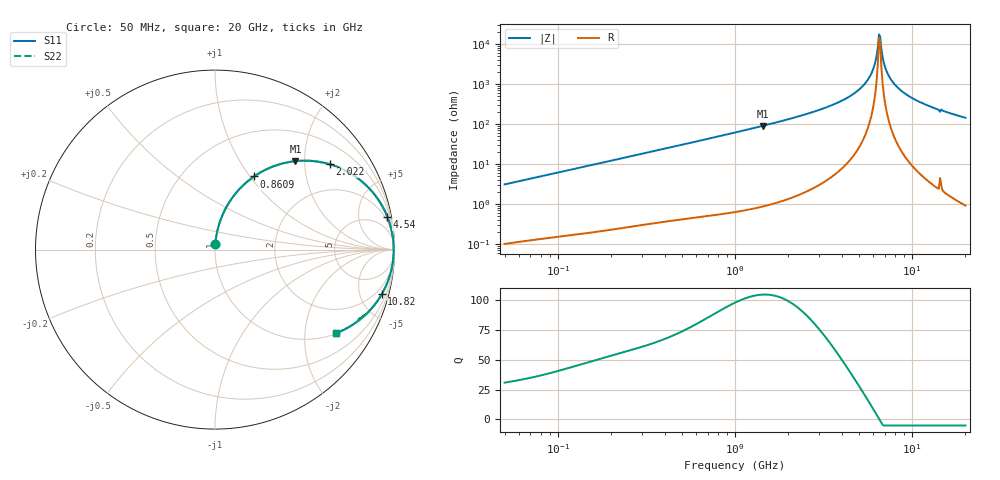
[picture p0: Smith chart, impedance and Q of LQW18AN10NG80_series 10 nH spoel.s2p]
!Murata Part Number: LQW18AN10NG80
!These Parameters are Measured in Series Mode Connection
!  o--[Z]--o
!Port1  Port2
!  o-------o
!Freq. Start=50[MHz] Stop=20[GHz], 401[Steps]
# Hz S RI R 50
!Freq.(Hz) S11(Real) S11(Imag) S21(Real) S21(Imag) S12(Real) S12(Imag) S22(Real) S22(Imag)
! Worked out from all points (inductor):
!   401 points, 50 MHz to 20 GHz, reference 50 ohm
!   read as one part in series: L = 9.78 nH near 51.52 MHz
!   highest Q = 104 at 1.433 GHz (marker M1), where L = 10 nH
!   self-resonance near 6.503 GHz
!   S11 on the Smith chart (normalised r, x): 50 MHz: 1.00, +0.06; 860.9 MHz: 1.01, +1.05; 2.022 GHz: 1.03, +2.67; 4.54 GHz: 1, +10; 10.82 GHz: 1.12, -7.45; 20 GHz: 1.02, -2.87
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5e7  0.00195 0.0308  0.9981 -0.0308  0.9981 -0.0308  0.00195 0.0308
1.364002e8  0.00859 0.0821  0.9914 -0.0821  0.9914 -0.0821  0.00859 0.0821
3.721004e8  0.0511 0.2127  0.9489 -0.2127  0.9489 -0.2127  0.0511 0.2127
8.608917e8  0.2184 0.4078  0.7816 -0.4078  0.7816 -0.4078  0.2184 0.4078
1e9  0.2752 0.4415  0.7248 -0.4415  0.7248 -0.4415  0.2752 0.4415
1.432596e9  0.448 0.4925  0.552 -0.4925  0.552 -0.4925  0.448 0.4925
2.021818e9  0.6397 0.4751  0.3603 -0.4751  0.3603 -0.4751  0.6397 0.4751
2.728004e9  0.7928 0.3993  0.2072 -0.3993  0.2072 -0.3993  0.7928 0.3993
3.626126e9  0.9032 0.2873  0.0968 -0.2873  0.0968 -0.2873  0.9032 0.2873
4.539627e9  0.9602 0.1828  0.0398 -0.1828  0.0398 -0.1828  0.9602 0.1828
5.194772e9  0.9813 0.1164  0.0187 -0.1164  0.0187 -0.1164  0.9813 0.1164
5.769027e9  0.9911 0.0639  0.00888 -0.0639  0.00888 -0.0639  0.9911 0.0639
6.125241e9  0.9941 0.0336  0.00585 -0.0336  0.00585 -0.0336  0.9941 0.0336
6.406762e9  0.9952 0.0108  0.00481 -0.0108  0.00481 -0.0108  0.9952 0.0108
6.503449e9  0.9953 0.00326  0.00469 -0.00326  0.00469 -0.00326  0.9953 0.00326
6.701223e9  0.9952 -0.0119  0.0048 0.0119  0.0048 0.0119  0.9952 -0.0119
7.009217e9  0.9942 -0.0347  0.00585 0.0347  0.00585 0.0347  0.9942 -0.0347
7.442007e9  0.9911 -0.065  0.00886 0.065  0.00886 0.065  0.9911 -0.065
8.644534e9  0.9754 -0.14  0.0246 0.14  0.0246 0.14  0.9754 -0.14
1.082228e10  0.9292 -0.2483  0.0708 0.2483  0.0708 0.2483  0.9292 -0.2483
1.396067e10  0.8405 -0.3609  0.1595 0.3609  0.1595 0.3609  0.8405 -0.3609
2e10  0.6726 -0.4661  0.3274 0.4661  0.3274 0.4661  0.6726 -0.4661
